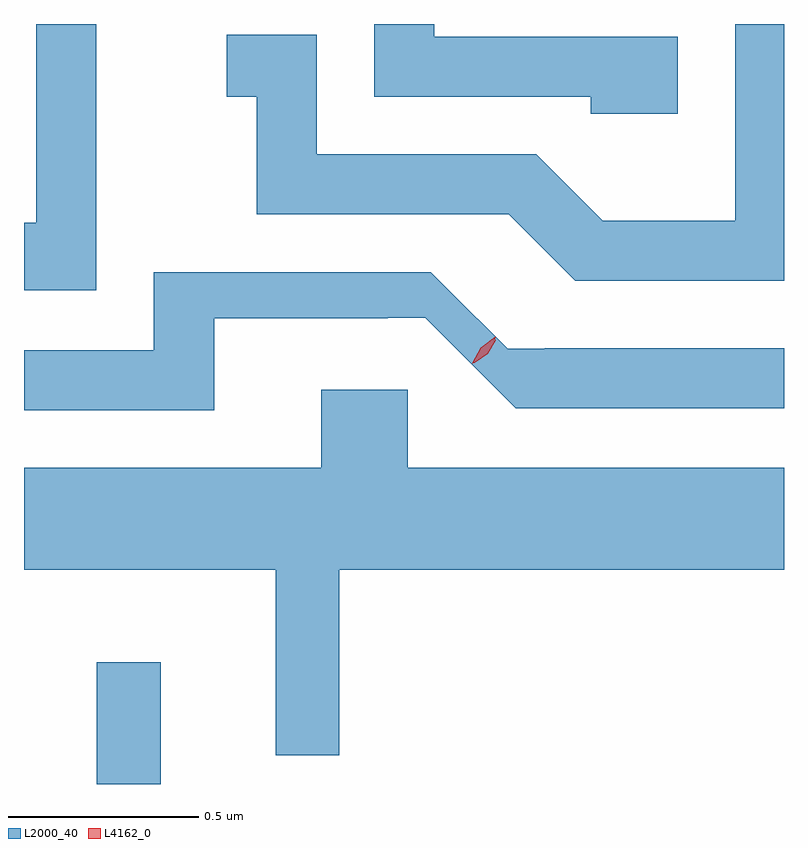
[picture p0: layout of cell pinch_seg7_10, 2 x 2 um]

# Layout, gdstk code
import gdstk
lib = gdstk.Library(unit=1e-6, precision=1e-09)
def R(c, l, rs):  # rectangles x0, y0, x1, y1
    for r in rs: c.add(gdstk.rectangle(r[:2], r[2:], *l))
def P(c, l, *ps):  # polygons
    for p in ps: c.add(gdstk.Polygon(p, *l))
L2000_40 = (2000, 40)
L4162_0 = (4162, 0)

pinch_seg7_10 = lib.new_cell('pinch_seg7_10')
R(pinch_seg7_10, L2000_40, [(1187.161,1795.892,1187.329,1796.213)])
P(pinch_seg7_10, L2000_40, [(1187.159,1797.892),(1187.001,1797.892),(1187.001,1797.369),(1186.969,1797.369),(1186.969,1797.191),(1187.159,1797.191)],
  [(1188.689,1797.859),(1188.049,1797.859),(1188.049,1797.892),(1187.891,1797.892),(1187.891,1797.701),(1188.461,1797.701),(1188.461,1797.656),(1188.689,1797.656)],
  [(1188.969,1797.892),(1188.841,1797.892),(1188.841,1797.374),(1188.492,1797.374),(1188.317,1797.549),(1187.739,1797.549),(1187.739,1797.864),(1187.503,1797.864),(1187.503,1797.701),(1187.581,1797.701),(1187.581,1797.391),(1188.244,1797.391),(1188.419,1797.216),(1188.969,1797.216)],
  [(1187.469,1797.118),(1187.926,1797.118),(1187.926,1797.119),(1188.025,1797.119),(1188.263,1796.881),(1188.969,1796.881),(1188.969,1797.039),(1188.339,1797.039),(1188.339,1797.038),(1188.242,1797.038),(1188.163,1797.117),(1188.162,1797.116),(1188.039,1797.239),(1187.311,1797.239),(1187.311,1797.034),(1186.969,1797.034),(1186.969,1796.876),(1187.469,1796.876)],
  [(1187.799,1796.456),(1188.969,1796.456),(1188.969,1796.724),(1187.979,1796.724),(1187.979,1796.929),(1187.751,1796.929),(1187.751,1796.724),(1186.969,1796.724),(1186.969,1796.456),(1187.631,1796.456),(1187.631,1795.968),(1187.799,1795.968)])
P(pinch_seg7_10, L4162_0, [(1188.148,1796.998),(1188.148,1796.999),(1188.171,1797.04),(1188.209,1797.069),(1188.21,1797.069),(1188.21,1797.068),(1188.186,1797.027),(1188.149,1796.998)],
  [(1188.154,1797.001),(1188.154,1797.002),(1188.175,1797.038),(1188.209,1797.061),(1188.21,1797.061),(1188.21,1797.06),(1188.189,1797.024),(1188.155,1797.001)])

lib.write_gds('pinch_seg7_10.gds')
